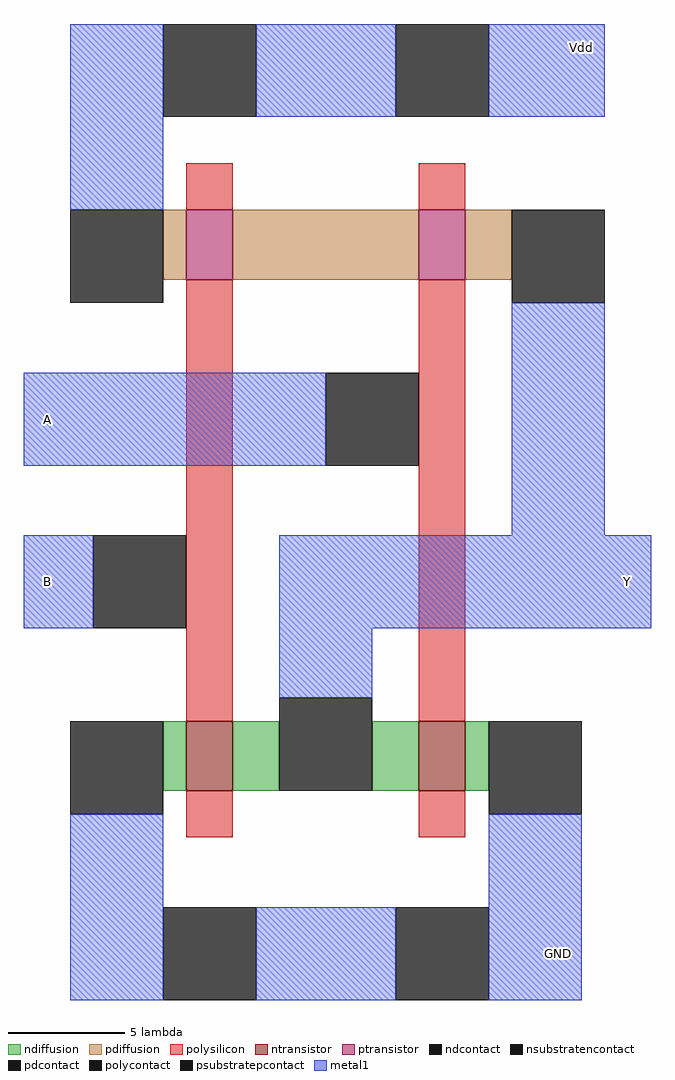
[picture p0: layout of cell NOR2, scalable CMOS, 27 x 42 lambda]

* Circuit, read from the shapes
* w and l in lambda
.subckt NOR2 A B GND Vdd Y
M1 Y B GND GND nfet w=3 l=2
M2 GND A Y GND nfet w=3 l=2
M3 n1 B Vdd Vdd pfet w=3 l=2
M4 Y A n1 Vdd pfet w=3 l=2
.ends

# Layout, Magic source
magic
tech scmos
<< polysilicon >>
rect -24 3 -22 5
rect -14 3 -12 5
rect -24 -19 -22 0
rect -14 -19 -12 0
rect -24 -24 -22 -22
rect -14 -24 -12 -22
<< ndiffusion >>
rect -25 -22 -24 -19
rect -22 -22 -20 -19
rect -16 -22 -14 -19
rect -12 -22 -11 -19
<< pdiffusion >>
rect -25 0 -24 3
rect -22 0 -14 3
rect -12 0 -10 3
<< metal1 >>
rect -29 3 -25 11
rect -21 7 -15 11
rect -11 7 -6 11
rect -31 -8 -18 -4
rect -10 -11 -6 -1
rect -31 -15 -28 -11
rect -20 -15 -4 -11
rect -20 -18 -16 -15
rect -29 -31 -25 -23
rect -21 -31 -15 -27
rect -11 -31 -7 -23
<< ntransistor >>
rect -24 -22 -22 -19
rect -14 -22 -12 -19
<< ptransistor >>
rect -24 0 -22 3
rect -14 0 -12 3
<< polycontact >>
rect -28 -15 -24 -11
rect -18 -8 -14 -4
<< ndcontact >>
rect -29 -23 -25 -19
rect -20 -22 -16 -18
rect -11 -23 -7 -19
<< pdcontact >>
rect -29 -1 -25 3
rect -10 -1 -6 3
<< psubstratepcontact >>
rect -25 -31 -21 -27
rect -15 -31 -11 -27
<< nsubstratencontact >>
rect -25 7 -21 11
rect -15 7 -11 11
<< labels >>
rlabel metal1 -7 9 -7 11 6 Vdd
rlabel metal1 -30 -7 -30 -5 3 A
rlabel metal1 -30 -14 -30 -12 3 B
rlabel metal1 -5 -14 -5 -12 7 Y
rlabel metal1 -8 -30 -8 -28 8 GND
<< end >>
